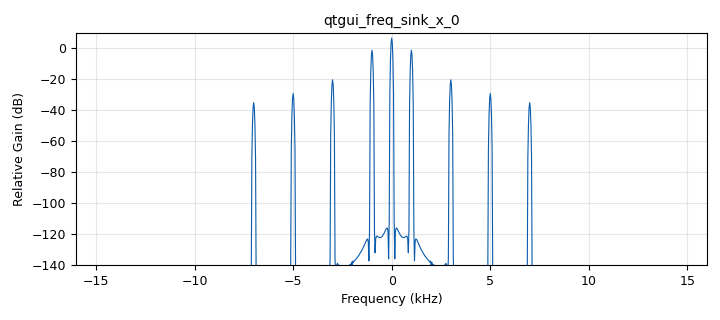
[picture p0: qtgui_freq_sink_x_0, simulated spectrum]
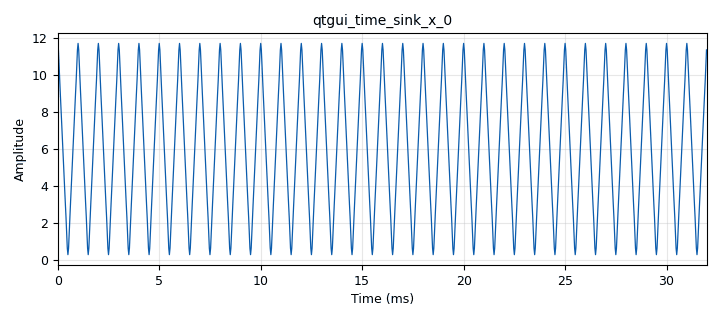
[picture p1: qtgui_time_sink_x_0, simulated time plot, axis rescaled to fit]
options:
  parameters:
    generate_options: qt_gui
    id: triangolarepositivo
    output_language: python
    title: Not titled yet
  states: {}

blocks:
- name: samp_rate
  id: variable
  parameters:
    value: '32000'
  states: {}
- name: analog_sig_source_x_0
  id: analog_sig_source_x
  parameters:
    amp: '6'
    freq: '1000'
    offset: '0'
    phase: '0'
    samp_rate: samp_rate
    type: float
    waveform: analog.GR_CONST_WAVE
  states: {}
- name: analog_sig_source_x_1
  id: analog_sig_source_x
  parameters:
    amp: '4.8634'
    freq: '1000'
    offset: '0'
    phase: '0'
    samp_rate: samp_rate
    type: float
    waveform: analog.GR_COS_WAVE
  states: {}
- name: analog_sig_source_x_1_0
  id: analog_sig_source_x
  parameters:
    amp: '0.5403'
    freq: '3000'
    offset: '0'
    phase: '0'
    samp_rate: samp_rate
    type: float
    waveform: analog.GR_COS_WAVE
  states: {}
- name: analog_sig_source_x_1_1
  id: analog_sig_source_x
  parameters:
    amp: '0.1945'
    freq: '5000'
    offset: '0'
    phase: '0'
    samp_rate: samp_rate
    type: float
    waveform: analog.GR_COS_WAVE
  states: {}
- name: analog_sig_source_x_1_2
  id: analog_sig_source_x
  parameters:
    amp: '0.099'
    freq: '7000'
    offset: '0'
    phase: '0'
    samp_rate: samp_rate
    type: float
    waveform: analog.GR_COS_WAVE
  states: {}
- name: blocks_add_xx_0
  id: blocks_add_xx
  parameters:
    num_inputs: '5'
    type: float
  states: {}
- name: blocks_throttle_0
  id: blocks_throttle
  parameters:
    samples_per_second: samp_rate
    type: float
  states: {}
- name: qtgui_freq_sink_x_0
  id: qtgui_freq_sink_x
  parameters:
    bw: samp_rate
    fc: '0'
    fftsize: '1024'
    type: float
  states: {}
- name: qtgui_time_sink_x_0
  id: qtgui_time_sink_x
  parameters:
    size: '1024'
    srate: samp_rate
    type: float
  states: {}

connections:
- [analog_sig_source_x_0, '0', blocks_add_xx_0, '0']
- [analog_sig_source_x_1, '0', blocks_add_xx_0, '1']
- [analog_sig_source_x_1_0, '0', blocks_add_xx_0, '2']
- [analog_sig_source_x_1_1, '0', blocks_add_xx_0, '3']
- [analog_sig_source_x_1_2, '0', blocks_add_xx_0, '4']
- [blocks_add_xx_0, '0', blocks_throttle_0, '0']
- [blocks_throttle_0, '0', qtgui_freq_sink_x_0, '0']
- [blocks_throttle_0, '0', qtgui_time_sink_x_0, '0']

metadata:
  file_format: 1
  grc_version: 3.10.5.1
